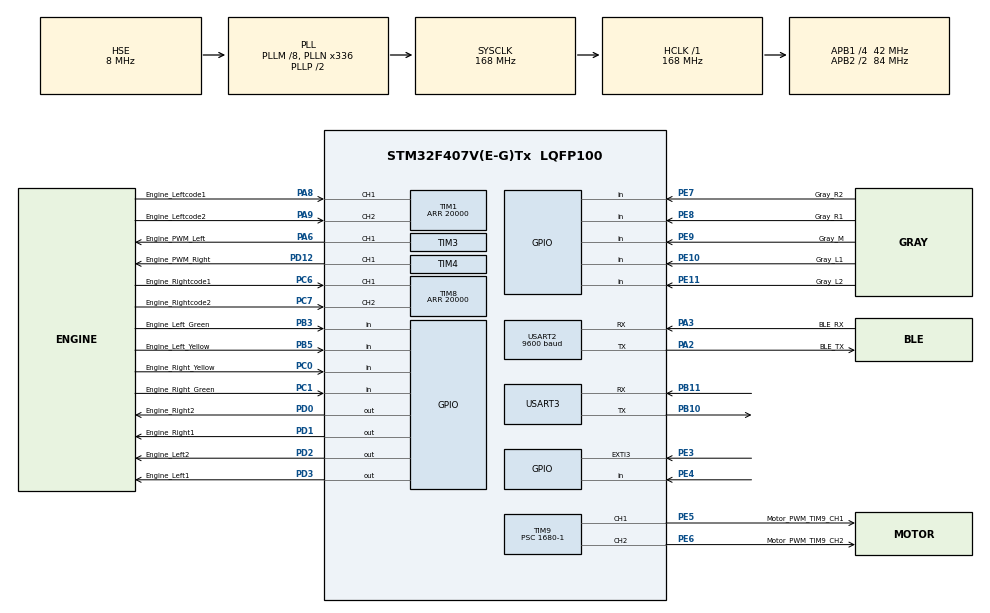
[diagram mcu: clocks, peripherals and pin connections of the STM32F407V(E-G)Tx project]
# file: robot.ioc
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Dma.Request0=USART2_RX
Dma.Request1=USART2_TX
Dma.Request2=USART3_RX
Dma.Request3=USART3_TX
Dma.USART2_RX.0.Direction=DMA_PERIPH_TO_MEMORY
Dma.USART2_RX.0.FIFOMode=DMA_FIFOMODE_DISABLE
Dma.USART2_RX.0.Instance=DMA1_Stream5
Dma.USART2_RX.0.MemDataAlignment=DMA_MDATAALIGN_BYTE
Dma.USART2_RX.0.MemInc=DMA_MINC_ENABLE
Dma.USART2_RX.0.Mode=DMA_NORMAL
Dma.USART2_RX.0.PeriphDataAlignment=DMA_PDATAALIGN_BYTE
Dma.USART2_RX.0.PeriphInc=DMA_PINC_DISABLE
Dma.USART2_RX.0.Priority=DMA_PRIORITY_LOW
Dma.USART2_TX.1.Direction=DMA_MEMORY_TO_PERIPH
Dma.USART2_TX.1.FIFOMode=DMA_FIFOMODE_DISABLE
Dma.USART2_TX.1.Instance=DMA1_Stream6
Dma.USART2_TX.1.MemDataAlignment=DMA_MDATAALIGN_BYTE
Dma.USART2_TX.1.MemInc=DMA_MINC_ENABLE
Dma.USART2_TX.1.Mode=DMA_NORMAL
Dma.USART2_TX.1.PeriphDataAlignment=DMA_PDATAALIGN_BYTE
Dma.USART2_TX.1.PeriphInc=DMA_PINC_DISABLE
Dma.USART2_TX.1.Priority=DMA_PRIORITY_LOW
Dma.USART3_RX.2.Direction=DMA_PERIPH_TO_MEMORY
Dma.USART3_RX.2.FIFOMode=DMA_FIFOMODE_DISABLE
Dma.USART3_RX.2.Instance=DMA1_Stream1
Dma.USART3_RX.2.MemDataAlignment=DMA_MDATAALIGN_BYTE
Dma.USART3_RX.2.MemInc=DMA_MINC_ENABLE
Dma.USART3_RX.2.Mode=DMA_NORMAL
Dma.USART3_RX.2.PeriphDataAlignment=DMA_PDATAALIGN_BYTE
Dma.USART3_RX.2.PeriphInc=DMA_PINC_DISABLE
Dma.USART3_RX.2.Priority=DMA_PRIORITY_LOW
Dma.USART3_TX.3.Direction=DMA_MEMORY_TO_PERIPH
Dma.USART3_TX.3.FIFOMode=DMA_FIFOMODE_DISABLE
Dma.USART3_TX.3.Instance=DMA1_Stream3
Dma.USART3_TX.3.MemDataAlignment=DMA_MDATAALIGN_BYTE
Dma.USART3_TX.3.MemInc=DMA_MINC_ENABLE
Dma.USART3_TX.3.Mode=DMA_NORMAL
Dma.USART3_TX.3.PeriphDataAlignment=DMA_PDATAALIGN_BYTE
Dma.USART3_TX.3.PeriphInc=DMA_PINC_DISABLE
Dma.USART3_TX.3.Priority=DMA_PRIORITY_LOW
Mcu.Family=STM32F4
Mcu.Name=STM32F407V(E-G)Tx
Mcu.Package=LQFP100
NVIC.DMA1_Stream1_IRQn=true\:0\:0\:false\:false\:true\:false\:true\:true
NVIC.DMA1_Stream3_IRQn=true\:0\:0\:false\:false\:true\:false\:true\:true
NVIC.DMA1_Stream5_IRQn=true\:0\:0\:false\:false\:true\:false\:true\:true
NVIC.DMA1_Stream6_IRQn=true\:0\:0\:false\:false\:true\:false\:true\:true
NVIC.EXTI3_IRQn=true\:12\:0\:true\:false\:true\:true\:true\:true
NVIC.PriorityGroup=NVIC_PRIORITYGROUP_4
NVIC.TIM1_UP_TIM10_IRQn=true\:4\:0\:true\:false\:true\:true\:true\:true
NVIC.TIM2_IRQn=true\:1\:0\:true\:false\:true\:true\:true\:true
NVIC.TIM3_IRQn=true\:3\:0\:true\:false\:true\:true\:true\:true
NVIC.TIM4_IRQn=true\:3\:0\:true\:false\:true\:true\:true\:true
NVIC.TIM5_IRQn=true\:5\:0\:true\:false\:true\:true\:true\:true
NVIC.TIM6_DAC_IRQn=true\:7\:0\:true\:false\:true\:true\:true\:true
NVIC.TIM8_UP_TIM13_IRQn=true\:4\:0\:true\:false\:true\:true\:true\:true
NVIC.USART2_IRQn=true\:6\:0\:true\:false\:true\:true\:true\:true
NVIC.USART3_IRQn=true\:0\:0\:false\:false\:true\:true\:true\:true
PA13.Mode=Serial_Wire
PA13.Signal=SYS_JTMS-SWDIO
PA14.Mode=Serial_Wire
PA14.Signal=SYS_JTCK-SWCLK
PA2.GPIO_Label=BLE_TX
PA2.Mode=Asynchronous
PA2.Signal=USART2_TX
PA3.GPIO_Label=BLE_RX
PA3.Mode=Asynchronous
PA3.Signal=USART2_RX
PA6.GPIO_Label=Engine_PWM_Left
PA6.Signal=S_TIM3_CH1
PA8.GPIO_Label=Engine_Leftcode1
PA8.Signal=S_TIM1_CH1
PA9.GPIO_Label=Engine_Leftcode2
PA9.Signal=S_TIM1_CH2
PB10.Mode=Asynchronous
PB10.Signal=USART3_TX
PB11.Mode=Asynchronous
PB11.Signal=USART3_RX
PB3.GPIO_Label=Engine_Left_Green
PB3.Signal=GPIO_Input
PB5.GPIO_Label=Engine_Left_Yellow
PB5.Signal=GPIO_Input
PC0.GPIO_Label=Engine_Right_Yellow
PC0.Signal=GPIO_Input
PC1.GPIO_Label=Engine_Right_Green
PC1.Signal=GPIO_Input
PC6.GPIO_Label=Engine_Rightcode1
PC6.Signal=S_TIM8_CH1
PC7.GPIO_Label=Engine_Rightcode2
PC7.Signal=S_TIM8_CH2
PD0.GPIO_Label=Engine_Right2
PD0.Signal=GPIO_Output
PD1.GPIO_Label=Engine_Right1
PD1.Signal=GPIO_Output
PD12.GPIO_Label=Engine_PWM_Right
PD12.Signal=S_TIM4_CH1
PD2.GPIO_Label=Engine_Left2
PD2.Signal=GPIO_Output
PD3.GPIO_Label=Engine_Left1
PD3.Signal=GPIO_Output
PE10.GPIO_Label=Gray_L1
PE10.Signal=GPIO_Input
PE11.GPIO_Label=Gray_L2
PE11.Signal=GPIO_Input
PE3.GPIO_ModeDefaultEXTI=GPIO_MODE_IT_FALLING
PE3.GPIO_PuPd=GPIO_PULLUP
PE3.Signal=GPXTI3
PE4.GPIO_PuPd=GPIO_PULLUP
PE4.Signal=GPIO_Input
PE5.GPIO_Label=Motor_PWM_TIM9_CH1
PE5.GPIO_Speed=GPIO_SPEED_FREQ_HIGH
PE5.Signal=S_TIM9_CH1
PE6.GPIO_Label=Motor_PWM_TIM9_CH2
PE6.GPIO_Speed=GPIO_SPEED_FREQ_HIGH
PE6.Signal=S_TIM9_CH2
PE7.GPIO_Label=Gray_R2
PE7.Signal=GPIO_Input
PE8.GPIO_Label=Gray_R1
PE8.Signal=GPIO_Input
PE9.GPIO_Label=Gray_M
PE9.Signal=GPIO_Input
PH0-OSC_IN.Mode=HSE-External-Oscillator
PH0-OSC_IN.Signal=RCC_OSC_IN
PH1-OSC_OUT.Mode=HSE-External-Oscillator
PH1-OSC_OUT.Signal=RCC_OSC_OUT
ProjectManager.HeapSize=0x200
ProjectManager.StackSize=0x400
ProjectManager.TargetToolchain=STM32CubeIDE
RCC.48MHZClocksFreq_Value=84000000
RCC.AHBFreq_Value=168000000
RCC.APB1CLKDivider=RCC_HCLK_DIV4
RCC.APB1Freq_Value=42000000
RCC.APB1TimFreq_Value=84000000
RCC.APB2CLKDivider=RCC_HCLK_DIV2
RCC.APB2Freq_Value=84000000
RCC.APB2TimFreq_Value=168000000
RCC.CortexFreq_Value=168000000
RCC.HCLKFreq_Value=168000000
RCC.HSE_VALUE=8000000
RCC.HSI_VALUE=16000000
RCC.LSE_VALUE=32768
RCC.PLLM=8
RCC.PLLN=336
RCC.PLLSourceVirtual=RCC_PLLSOURCE_HSE
RCC.SYSCLKFreq_VALUE=168000000
RCC.SYSCLKSource=RCC_SYSCLKSOURCE_PLLCLK
RCC.VCOOutputFreq_Value=336000000
SH.S_TIM1_CH1.0=TIM1_CH1,Encoder_Interface
SH.S_TIM1_CH2.0=TIM1_CH2,Encoder_Interface
SH.S_TIM3_CH1.0=TIM3_CH1,PWM Generation1 CH1
SH.S_TIM4_CH1.0=TIM4_CH1,PWM Generation1 CH1
SH.S_TIM8_CH1.0=TIM8_CH1,Encoder_Interface
SH.S_TIM8_CH2.0=TIM8_CH2,Encoder_Interface
SH.S_TIM9_CH1.0=TIM9_CH1,PWM Generation1 CH1
SH.S_TIM9_CH2.0=TIM9_CH2,PWM Generation2 CH2
TIM1.Period=20000
TIM2.Period=100-1
TIM2.Prescaler=84-1
TIM3.Channel-PWM\ Generation1\ CH1=TIM_CHANNEL_1
TIM3.Period=100-1
TIM3.Prescaler=84-1
TIM3.TIM_MasterOutputTrigger=TIM_TRGO_UPDATE
TIM4.Channel-PWM\ Generation1\ CH1=TIM_CHANNEL_1
TIM4.Period=100-1
TIM4.Prescaler=84-1
TIM5.Period=500-1
TIM5.Prescaler=8400-1
TIM6.Period=10000-1
TIM6.Prescaler=84-1
TIM8.Period=20000
TIM9.Channel-PWM\ Generation1\ CH1=TIM_CHANNEL_1
TIM9.Channel-PWM\ Generation2\ CH2=TIM_CHANNEL_2
TIM9.Period=2000-1
TIM9.Prescaler=1680-1
USART2.BaudRate=9600
USART2.VirtualMode=VM_ASYNC
USART3.VirtualMode=VM_ASYNC
VP_TIM2_VS_ClockSourceINT.Mode=Internal
VP_TIM3_VS_ClockSourceINT.Mode=Internal
VP_TIM3_VS_ClockSourceITR.Mode=TriggerSource_ITR1
VP_TIM4_VS_ClockSourceINT.Mode=Internal
VP_TIM4_VS_ClockSourceITR.Mode=TriggerSource_ITR1
VP_TIM5_VS_ClockSourceINT.Mode=Internal
VP_TIM6_VS_ClockSourceINT.Mode=Enable_Timer
VP_TIM9_VS_ClockSourceINT.Mode=Internal
board=custom

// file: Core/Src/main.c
/* USER CODE BEGIN Header */
/**
  ******************************************************************************
  * @file           : main.c
  * @brief          : Main program body
  ******************************************************************************
  * @attention
  *
  * Copyright (c) 2024 STMicroelectronics.
  * All rights reserved.
  *
  * This software is licensed under terms that can be found in the LICENSE file
  * in the root directory of this software component.
  * If no LICENSE file comes with this software, it is provided AS-IS.
  *
  ******************************************************************************
  */
/* USER CODE END Header */
#include "main.h"
#include "dma.h"
#include "tim.h"
#include "usart.h"
#include "gpio.h"

/* USER CODE BEGIN Includes */
#include "move.h"
#include "game.h"
#include <math.h>
#include <stdio.h>
#include <string.h>
#include <stdlib.h>
/* USER CODE END Includes */

/* USER CODE BEGIN PV */
uint8_t TransmitData[200];//芯片发�?�给电脑的模块参数信�????
float MotorData = 0.0;//舵机的角度（左至右）
int EngineData[2] = {0,0};//电机转�?�（左至右）
int Data[200];//经过�????个交点后的运�????
//以上四个数组仅在传输信息时起效，1s更新�????次，不在实时测算中起�????

int cross_cnt = 0;
int path_selection = 0;
/* USER CODE END PV */

void SystemClock_Config(void);

/* USER CODE BEGIN 0 */
void HAL_TIM_PeriodElapsedCallback(TIM_HandleTypeDef *htim)
{
    if (htim->Instance == htim5.Instance) // 确认是正确的定时�????
    {
        MotorData = Motor_angel;

    	sprintf((char*)TransmitData, "灰度传感器：%d %d %d %d %d \n 已经经过%d个路口\n ", GrayData[0],GrayData[1],GrayData[2],GrayData[3],GrayData[4],cross_cnt);
    	HAL_UART_Transmit_DMA(&huart2, TransmitData, sizeof(TransmitData));//蓝牙
    	HAL_UART_Transmit_DMA(&huart3, TransmitData, sizeof(TransmitData));//传输信息
    }//此为TIM5触发的中�???? 1s�????�????

    if(htim->Instance == htim6.Instance)		              //10ms中断
    {
        EngineData[0] = Read_Rotational_Speed(0);         //0为左,转�?�单位为RPM
        EngineData[1] = Read_Rotational_Speed(1);         //1为右，转速单位为RPM
        if(HAL_GPIO_ReadPin(Gray_L2_GPIO_Port, Gray_L2_Pin) == GPIO_PIN_SET)
        {
        	GrayData[0] = 1;
        }
        else if(HAL_GPIO_ReadPin(Gray_L2_GPIO_Port, Gray_L2_Pin) == GPIO_PIN_RESET)
        {
        	GrayData[0] = 0;
        }
        if(HAL_GPIO_ReadPin(Gray_L1_GPIO_Port, Gray_L1_Pin) == GPIO_PIN_SET)
        {
        	GrayData[1] = 1;
        }
        else if(HAL_GPIO_ReadPin(Gray_L1_GPIO_Port, Gray_L1_Pin) == GPIO_PIN_RESET)
        {
        	GrayData[1] = 0;
        }
        if(HAL_GPIO_ReadPin(Gray_M_GPIO_Port, Gray_M_Pin) == GPIO_PIN_SET)
        {
        	GrayData[2] = 1;
        }
        else if(HAL_GPIO_ReadPin(Gray_M_GPIO_Port, Gray_M_Pin) == GPIO_PIN_RESET)
        {
        	GrayData[2] = 0;
        }
        if(HAL_GPIO_ReadPin(Gray_R1_GPIO_Port, Gray_R1_Pin) == GPIO_PIN_SET)
        {
        	GrayData[3] = 1;
        }
        else if(HAL_GPIO_ReadPin(Gray_R1_GPIO_Port, Gray_R1_Pin) == GPIO_PIN_RESET)
        {
        	GrayData[3] = 0;
        }
        if(HAL_GPIO_ReadPin(Gray_R2_GPIO_Port, Gray_R2_Pin) == GPIO_PIN_SET)
        {
        	GrayData[4] = 1;
        }
        else if(HAL_GPIO_ReadPin(Gray_R2_GPIO_Port, Gray_R2_Pin) == GPIO_PIN_RESET)
        {
        	GrayData[4] = 0;
        }//10ms刷新�????�????
    }//此为TIM6触发的中�????
	else if(htim->Instance == htim1.Instance)
	{
		if(COUNTERNUMLEFT < 10000)	EngineLeft.loopNum++;         //向上计数超过10000，正溢出+1
		else if(COUNTERNUMLEFT > 10000)	EngineLeft.loopNum--;     //向下计数小于0，负溢出+1
		__HAL_TIM_SetCounter(&htim1, 10000);             //重新设定初始�????
	}
	else if(htim->Instance == htim8.Instance)
	{
		if(COUNTERNUMRIGHT < 10000)	EngineRight.loopNum++;         //向上计数超过10000，正溢出+1
		else if(COUNTERNUMRIGHT > 10000)	EngineRight.loopNum--;     //向下计数小于0，负溢出+1
		__HAL_TIM_SetCounter(&htim8, 10000);             //重新设定初始�????
	}
}
//TIM5每秒溢出触发回调函数向计算机发�?�参�????

void HAL_GPIO_EXTI_Callback(uint16_t GPIO_Pin)
{
	if(HAL_GPIO_ReadPin(GPIOE, GPIO_PIN_3) == GPIO_PIN_RESET)
	{
		HAL_Delay(50);
		if(HAL_GPIO_ReadPin(GPIOE, GPIO_PIN_3) == GPIO_PIN_RESET)
		{
			if(path_selection <= 4)
			path_selection++;
			else if(path_selection == 5)
			path_selection = 0;
		}
	}
}
/* USER CODE END 0 */

int main(void)
{

  /* MCU Configuration--------------------------------------------------------*/

  /* Reset of all peripherals, Initializes the Flash interface and the Systick. */
  HAL_Init();

  /* Configure the system clock */
  SystemClock_Config();

  /* Initialize all configured peripherals */
  MX_GPIO_Init();
  MX_DMA_Init();
  MX_TIM9_Init();
  MX_TIM2_Init();
  MX_TIM3_Init();
  MX_TIM4_Init();
  MX_USART2_UART_Init();
  MX_TIM5_Init();
  MX_TIM1_Init();
  MX_TIM6_Init();
  MX_TIM8_Init();
  MX_USART3_UART_Init();
  /* USER CODE BEGIN 2 */
  Engine_Init();
  Motor_Init();
  GraySensor_Init();
  HAL_TIM_Base_Start_IT(&htim5);//初始化TIM5，用于发送非阻塞信息

  HAL_Delay(3000);
  Motor_Position(2);

  int path[6][30] = { {3,3,2,3,3,1,3,3,3,3,1,3,3,0}, {3,3,2,3,3,1,3,3,3,3,3,3,1,3,1,3,3,3,3,2,3,0}, {3,3,2,3,3,1,3,1,3,3,3,2,3,1,3,3,0}, {3,3,2,3,3,1,3,0}, {3,3,2,3,3,1,3,3,3,3,2,3,4,3,0}, {3,3,4,3,0}};
  //第一条路为最简单三分，第二条路为去对面拿三分，第三条路为己方右边三分，第四条路为勾出对面物块，第五条路为挡住对面去路
  /* USER CODE END 2 */

  /* Infinite loop */
  /* USER CODE BEGIN WHILE */
  while (1)
  {
	  if(path[path_selection][cross_cnt] == 0){
		  Move_Twin_Wheels(0, 0);
		  Motor_Control(50);
	      HAL_Delay(310);
		  while(1);
	  }else if(path[path_selection][cross_cnt] == 1){
		  Move_Turn(1);
		  Position_Adj(1);
		  Motor_Position(2);

		  cross_cnt++;
		  for(int i = 0; i < 20; i++){
			  Move_Straight(1);
		  }
	  }else if(path[path_selection][cross_cnt] == 2){
		  Move_Turn(2);
		  Position_Adj(2);
		  Motor_Position(2);

		  cross_cnt++;
		  for(int i = 0; i < 20; i++){
			  Move_Straight(1);
		  }
	  }else if(path[path_selection][cross_cnt] == 3){
		  Move_Straight(1);
	  }
	  else if(path[path_selection][cross_cnt] == 4){
		  Move_Turn(3);
		  Position_Adj(3);
		  Motor_Position(1);

		  cross_cnt++;
//		  for(int i = 0; i < 20; i++){
//			  Move_Straight(1);
//		  }
	  }

	  if(Judge_cross() == 1){
		  cross_cnt++;
          HAL_Delay(100);
	  }

	    if(HAL_GPIO_ReadPin(GPIOE, GPIO_PIN_4) == GPIO_PIN_RESET) // �????测到按键按下
	    {
	        HAL_Delay(50); // �????单延迟，以便于消�????
	        if(HAL_GPIO_ReadPin(GPIOE, GPIO_PIN_4) == GPIO_PIN_RESET) // 再次确认按键确实被按�????
	        {
	      	  HAL_PWR_EnterSTANDBYMode();
	      	  break;
	        }
	    }
    /* USER CODE END WHILE */

  }
}

void SystemClock_Config(void)
{
  RCC_OscInitTypeDef RCC_OscInitStruct = {0};
  RCC_ClkInitTypeDef RCC_ClkInitStruct = {0};

  /** Configure the main internal regulator output voltage
  */
  __HAL_RCC_PWR_CLK_ENABLE();
  __HAL_PWR_VOLTAGESCALING_CONFIG(PWR_REGULATOR_VOLTAGE_SCALE1);

  /** Initializes the RCC Oscillators according to the specified parameters
  * in the RCC_OscInitTypeDef structure.
  */
  RCC_OscInitStruct.OscillatorType = RCC_OSCILLATORTYPE_HSE;
  RCC_OscInitStruct.HSEState = RCC_HSE_ON;
  RCC_OscInitStruct.PLL.PLLState = RCC_PLL_ON;
  RCC_OscInitStruct.PLL.PLLSource = RCC_PLLSOURCE_HSE;
  RCC_OscInitStruct.PLL.PLLM = 8;
  RCC_OscInitStruct.PLL.PLLN = 336;
  RCC_OscInitStruct.PLL.PLLP = RCC_PLLP_DIV2;
  RCC_OscInitStruct.PLL.PLLQ = 4;
  if (HAL_RCC_OscConfig(&RCC_OscInitStruct) != HAL_OK)
  {
    Error_Handler();
  }

  /** Initializes the CPU, AHB and APB buses clocks
  */
  RCC_ClkInitStruct.ClockType = RCC_CLOCKTYPE_HCLK|RCC_CLOCKTYPE_SYSCLK
                              |RCC_CLOCKTYPE_PCLK1|RCC_CLOCKTYPE_PCLK2;
  RCC_ClkInitStruct.SYSCLKSource = RCC_SYSCLKSOURCE_PLLCLK;
  RCC_ClkInitStruct.AHBCLKDivider = RCC_SYSCLK_DIV1;
  RCC_ClkInitStruct.APB1CLKDivider = RCC_HCLK_DIV4;
  RCC_ClkInitStruct.APB2CLKDivider = RCC_HCLK_DIV2;

  if (HAL_RCC_ClockConfig(&RCC_ClkInitStruct, FLASH_LATENCY_5) != HAL_OK)
  {
    Error_Handler();
  }
}

void Error_Handler(void)
{
  __disable_irq();
  while (1)
  {
  }
}
